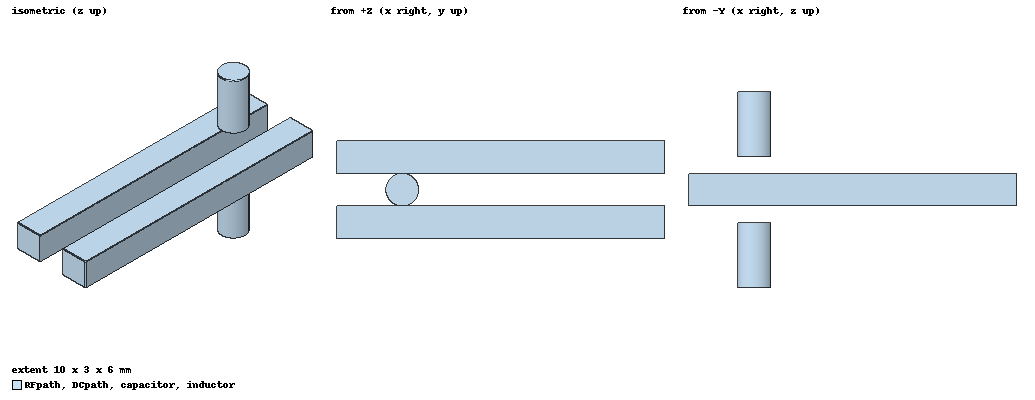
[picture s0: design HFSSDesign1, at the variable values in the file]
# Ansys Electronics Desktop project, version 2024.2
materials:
  vacuum: permittivity=1

design HFSSDesign1 (HFSS, HFSS Terminal Network, model units mm)
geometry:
  RFpath [vacuum] = box(corner=(0mm, 0mm, 0mm), size=(10mm, 1mm, 1mm))
  DCpath [vacuum] = box(corner=(0mm, 2mm, 0mm), size=(10mm, 1mm, 1mm))
  capacitor [vacuum] = cylinder(axis=Z, base_centre=(0mm, 0mm, 1.5mm), radius=0.5mm, height=2mm)
  capacitor.move(0.5mm, -3mm, 0mm)
  inductor [vacuum] = cylinder(axis=Z, base_centre=(0mm, -1mm, 0mm), radius=0.5mm, height=2mm)
  capacitor.move(-1mm, 2.5mm, 0mm)
  capacitor.move(0mm, 1.5mm, -0.5mm)
  capacitor.move(0mm, 0.5mm, 0.5mm)
  capacitor.move(0mm, 0mm, 0mm)
  inductor.move(0.5mm, 1.5mm, 0mm)
  inductor.move(0mm, 1mm, -2.5mm)
  capacitor.move(2.5mm, 0mm, 0mm)
  inductor.move(1.5mm, -1mm, 0mm)
  inductor.move(0mm, 1mm, 0mm)
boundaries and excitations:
  PerfE1: Perfect E Faces=RFpath.face(-z, +z, -y, +x) DCpath.face(-y, +x, +z) capacitor.face(side) inductor.face(side)
  1: Lumped Port Faces=RFpath.face(-y) LumpedPortType=Modal Modes{Mode1{IntLine{(0, 0, 0.5) -> (10, 0, 0.5)} CharImp=Zpi}} Impedance=50ohm
  2: Lumped Port Faces=RFpath.face(+y) LumpedPortType=Modal Modes{Mode1{IntLine{(0, 1, 0.5) -> (10, 1, 0.5)} CharImp=Zpi}} Impedance=50ohm
  3: Lumped Port Faces=DCpath.face(-y) LumpedPortType=Modal Modes{Mode1{IntLine{(0, 2, 0.5) -> (10, 2, 0.5)} CharImp=Zpi}} Impedance=50ohm
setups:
  Setup1: HfssDrivenAuto AutoSolverSetting=Balanced SaveAnyFields=false Type=Interpolating
    sweep Sweep: 100MHz to 15GHz, 501 points;
  Setup2: HfssDriven MultipleAdaptiveFreqsSetup{Low=100MHz High=15GHz} MaxDeltaS=0.02 MaximumPasses=1 MinimumPasses=1 MinimumConvergedPasses=1 PercentRefinement=30 MeshLink{ImportMesh LinkID=1762 Project="This Project*" Design="This Design*" PathRelativeTo=TargetProject} BasisOrder=1 DoLambdaRefine=false PortAccuracy=2 DrivenSolverType="Direct Solver" SaveAnyFields=false
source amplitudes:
  1:1: 1V 0deg
  2:1, 3:1: 0V 0deg
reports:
  S Parameter Plot 1: dB(S(1,1)) vs Freq on Setup1 : Sweep
  S Parameter Plot 2: dB(S(2,1)) vs Freq on Setup1 : Sweep
  VSWR Plot 1: VSWR(1) vs Freq on Setup1 : Sweep
  S Parameter Plot 3: dB(S(2,1)) vs Freq on Setup1 : Sweep
  S Parameter Plot 4: dB(S(1,2)) vs Freq on Setup1 : Sweep
